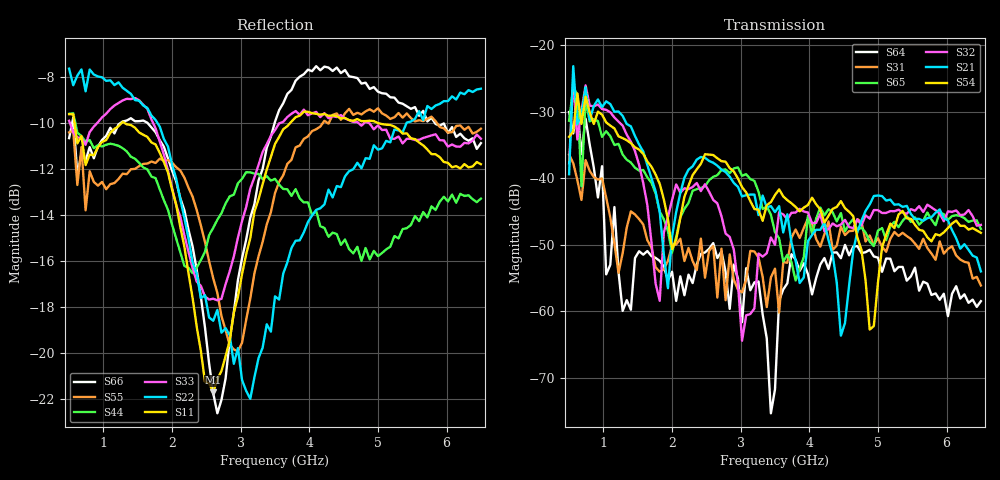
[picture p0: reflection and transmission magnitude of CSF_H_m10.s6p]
!Keysight Technologies,M9804A,MY58100912,A.14.10.03
!Date: Thursday, April 27, 2023 10:28:33
!Correction: S11(C  6-Port  )
!S12(C  6-Port  )
!S13(C  6-Port  )
!S14(C  6-Port  )
!S15(C  6-Port  )
!S16(C  6-Port  )
!S21(C  6-Port  )
!S22(C  6-Port  )
!S23(C  6-Port  )
!S24(C  6-Port  )
!S25(C  6-Port  )
!S26(C  6-Port  )
!S31(C  6-Port  )
!S32(C  6-Port  )
!S33(C  6-Port  )
!S34(C  6-Port  )
!S35(C  6-Port  )
!S36(C  6-Port  )
!S41(C  6-Port  )
!S42(C  6-Port  )
!S43(C  6-Port  )
!S44(C  6-Port  )
!S45(C  6-Port  )
!S46(C  6-Port  )
!S51(C  6-Port  )
!S52(C  6-Port  )
!S53(C  6-Port  )
!S54(C  6-Port  )
!S55(C  6-Port  )
!S56(C  6-Port  )
!S61(C  6-Port  )
!S62(C  6-Port  )
!S63(C  6-Port  )
!S64(C  6-Port  )
!S65(C  6-Port  )
!S66(C  6-Port  )
!S6P File: Measurement: :
# Hz S  RI  R 50
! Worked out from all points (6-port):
!   101 points, 500 MHz to 6.5 GHz, reference 50 ohm
!   strongest paths, dB at 500 MHz, 2 GHz, 3.5 GHz, 5 GHz, 6.5 GHz:
!     S54: -33.7, -50.6, -42.5, -55.7, -48.2
!     S21: -39.4, -48.7, -45.1, -42.6, -54.0
!     S32: -37.8, -43.2, -50.0, -44.8, -47.0
!     S65: -31.3, -51.2, -48.1, -47.8, -47.6
!     S31: -36.4, -50.1, -53.6, -49.0, -56.1
!     S64: -30.0, -54.0, -71.7, -51.9, -58.5
!   lowest |S11| = -21.7 dB at 2.6 GHz (marker M1), VSWR 1.18, Z = 42.7 + j2.04 ohm
!   |S11| at or under -10 dB: 578.7 MHz to 1.259 GHz (680.7 MHz wide, 74.1 % of centre); 1.317 GHz to 3.716 GHz (2.4 GHz wide, 95.3 % of centre); 5.019 GHz to end of sweep
